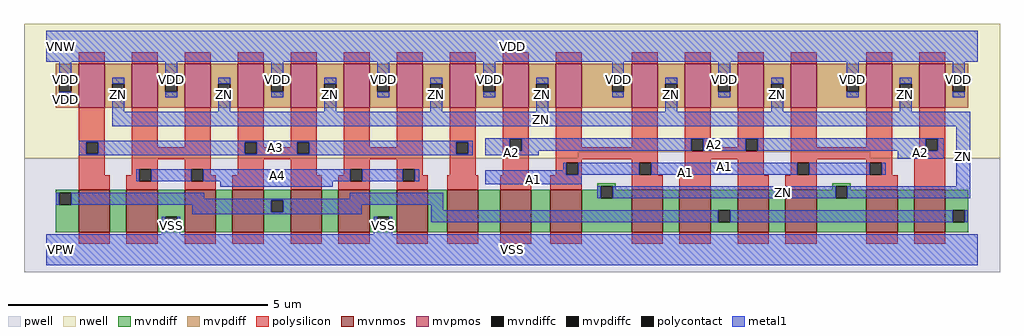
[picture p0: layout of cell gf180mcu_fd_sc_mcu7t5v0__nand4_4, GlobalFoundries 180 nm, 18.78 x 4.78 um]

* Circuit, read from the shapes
.subckt gf180mcu_fd_sc_mcu7t5v0__nand4_4 A1 A2 A3 A4 ZN VDD VNW VPW VSS
XM1 n1 A3 n2 VPW nfet_06v0 w=0.82u l=0.6u
XM2 VSS A4 n1 VPW nfet_06v0 w=0.82u l=0.6u
XM3 n3 A4 VSS VPW nfet_06v0 w=0.82u l=0.6u
XM4 n2 A3 n3 VPW nfet_06v0 w=0.82u l=0.6u
XM5 n4 A3 n2 VPW nfet_06v0 w=0.82u l=0.6u
XM6 VSS A4 n4 VPW nfet_06v0 w=0.82u l=0.6u
XM7 n5 A4 VSS VPW nfet_06v0 w=0.82u l=0.6u
XM8 n6 A3 n5 VPW nfet_06v0 w=0.82u l=0.6u
XM9 n7 A2 n6 VPW nfet_06v0 w=0.82u l=0.6u
XM10 ZN A1 n7 VPW nfet_06v0 w=0.82u l=0.6u
XM11 n8 A1 ZN VPW nfet_06v0 w=0.82u l=0.6u
XM12 n2 A2 n8 VPW nfet_06v0 w=0.82u l=0.6u
XM13 n9 A2 n2 VPW nfet_06v0 w=0.82u l=0.6u
XM14 ZN A1 n9 VPW nfet_06v0 w=0.82u l=0.6u
XM15 n10 A1 ZN VPW nfet_06v0 w=0.82u l=0.6u
XM16 n2 A2 n10 VPW nfet_06v0 w=0.82u l=0.6u
XM17 ZN A3 VDD VNW pfet_06v0 w=0.845u l=0.5u m=4
XM18 VDD A4 ZN VNW pfet_06v0 w=0.845u l=0.5u m=4
XM19 ZN A2 VDD VNW pfet_06v0 w=0.845u l=0.5u m=4
XM20 VDD A1 ZN VNW pfet_06v0 w=0.845u l=0.5u m=4
.ends

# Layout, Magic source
magic
tech gf180mcuD
magscale 1 10
<< nwell >>
rect -86 377 3670 870
rect -86 352 2046 377
rect 3170 352 3670 377
<< pwell >>
rect 2046 352 3170 377
rect -86 -86 3670 352
<< mvnmos >>
rect 124 68 244 232
rect 308 68 428 232
rect 532 68 652 232
rect 716 68 836 232
rect 940 68 1060 232
rect 1124 68 1244 232
rect 1348 68 1468 232
rect 1542 68 1662 232
rect 1746 68 1866 232
rect 1940 68 2060 232
rect 2252 68 2372 232
rect 2436 68 2556 232
rect 2660 68 2780 232
rect 2844 68 2964 232
rect 3156 68 3276 232
rect 3340 68 3460 232
<< mvpmos >>
rect 124 547 224 716
rect 328 547 428 716
rect 532 547 632 716
rect 736 547 836 716
rect 940 547 1040 716
rect 1144 547 1244 716
rect 1348 547 1448 716
rect 1552 547 1652 716
rect 1756 547 1856 716
rect 1960 547 2060 716
rect 2252 547 2352 716
rect 2456 547 2556 716
rect 2660 547 2760 716
rect 2864 547 2964 716
rect 3156 547 3256 716
rect 3360 547 3460 716
<< mvndiff >>
rect 2120 244 2192 257
rect 2120 232 2133 244
rect 36 219 124 232
rect 36 173 49 219
rect 95 173 124 219
rect 36 68 124 173
rect 244 68 308 232
rect 428 127 532 232
rect 428 81 457 127
rect 503 81 532 127
rect 428 68 532 81
rect 652 68 716 232
rect 836 190 940 232
rect 836 144 865 190
rect 911 144 940 190
rect 836 68 940 144
rect 1060 68 1124 232
rect 1244 127 1348 232
rect 1244 81 1273 127
rect 1319 81 1348 127
rect 1244 68 1348 81
rect 1468 68 1542 232
rect 1662 68 1746 232
rect 1866 68 1940 232
rect 2060 198 2133 232
rect 2179 232 2192 244
rect 3024 244 3096 257
rect 3024 232 3037 244
rect 2179 198 2252 232
rect 2060 68 2252 198
rect 2372 68 2436 232
rect 2556 152 2660 232
rect 2556 106 2585 152
rect 2631 106 2660 152
rect 2556 68 2660 106
rect 2780 68 2844 232
rect 2964 198 3037 232
rect 3083 232 3096 244
rect 3083 198 3156 232
rect 2964 68 3156 198
rect 3276 68 3340 232
rect 3460 152 3548 232
rect 3460 106 3489 152
rect 3535 106 3548 152
rect 3460 68 3548 106
<< mvpdiff >>
rect 36 654 124 716
rect 36 608 49 654
rect 95 608 124 654
rect 36 547 124 608
rect 224 639 328 716
rect 224 593 253 639
rect 299 593 328 639
rect 224 547 328 593
rect 428 654 532 716
rect 428 608 457 654
rect 503 608 532 654
rect 428 547 532 608
rect 632 639 736 716
rect 632 593 661 639
rect 707 593 736 639
rect 632 547 736 593
rect 836 654 940 716
rect 836 608 865 654
rect 911 608 940 654
rect 836 547 940 608
rect 1040 639 1144 716
rect 1040 593 1069 639
rect 1115 593 1144 639
rect 1040 547 1144 593
rect 1244 654 1348 716
rect 1244 608 1273 654
rect 1319 608 1348 654
rect 1244 547 1348 608
rect 1448 639 1552 716
rect 1448 593 1477 639
rect 1523 593 1552 639
rect 1448 547 1552 593
rect 1652 654 1756 716
rect 1652 608 1681 654
rect 1727 608 1756 654
rect 1652 547 1756 608
rect 1856 639 1960 716
rect 1856 593 1885 639
rect 1931 593 1960 639
rect 1856 547 1960 593
rect 2060 654 2252 716
rect 2060 608 2177 654
rect 2223 608 2252 654
rect 2060 547 2252 608
rect 2352 639 2456 716
rect 2352 593 2381 639
rect 2427 593 2456 639
rect 2352 547 2456 593
rect 2556 654 2660 716
rect 2556 608 2585 654
rect 2631 608 2660 654
rect 2556 547 2660 608
rect 2760 639 2864 716
rect 2760 593 2789 639
rect 2835 593 2864 639
rect 2760 547 2864 593
rect 2964 654 3156 716
rect 2964 608 3081 654
rect 3127 608 3156 654
rect 2964 547 3156 608
rect 3256 639 3360 716
rect 3256 593 3285 639
rect 3331 593 3360 639
rect 3256 547 3360 593
rect 3460 654 3548 716
rect 3460 608 3489 654
rect 3535 608 3548 654
rect 3460 547 3548 608
<< mvndiffc >>
rect 49 173 95 219
rect 457 81 503 127
rect 865 144 911 190
rect 1273 81 1319 127
rect 2133 198 2179 244
rect 2585 106 2631 152
rect 3037 198 3083 244
rect 3489 106 3535 152
<< mvpdiffc >>
rect 49 608 95 654
rect 253 593 299 639
rect 457 608 503 654
rect 661 593 707 639
rect 865 608 911 654
rect 1069 593 1115 639
rect 1273 608 1319 654
rect 1477 593 1523 639
rect 1681 608 1727 654
rect 1885 593 1931 639
rect 2177 608 2223 654
rect 2381 593 2427 639
rect 2585 608 2631 654
rect 2789 593 2835 639
rect 3081 608 3127 654
rect 3285 593 3331 639
rect 3489 608 3535 654
<< polysilicon >>
rect 124 716 224 760
rect 328 716 428 760
rect 532 716 632 760
rect 736 716 836 760
rect 940 716 1040 760
rect 1144 716 1244 760
rect 1348 716 1448 760
rect 1552 716 1652 760
rect 1756 716 1856 760
rect 1960 716 2060 760
rect 2252 716 2352 760
rect 2456 716 2556 760
rect 2660 716 2760 760
rect 2864 716 2964 760
rect 3156 716 3256 760
rect 3360 716 3460 760
rect 124 415 224 547
rect 124 369 153 415
rect 199 369 224 415
rect 124 288 224 369
rect 328 394 428 547
rect 532 394 632 547
rect 328 348 632 394
rect 328 311 428 348
rect 328 288 357 311
rect 124 232 244 288
rect 308 265 357 288
rect 403 265 428 311
rect 308 232 428 265
rect 532 311 632 348
rect 532 265 557 311
rect 603 288 632 311
rect 736 415 836 547
rect 736 369 763 415
rect 809 394 836 415
rect 940 415 1040 547
rect 940 394 966 415
rect 809 369 966 394
rect 1012 369 1040 415
rect 736 348 1040 369
rect 736 288 836 348
rect 603 265 652 288
rect 532 232 652 265
rect 716 232 836 288
rect 940 288 1040 348
rect 1144 394 1244 547
rect 1348 394 1448 547
rect 1144 348 1448 394
rect 1144 311 1244 348
rect 1144 288 1170 311
rect 940 232 1060 288
rect 1124 265 1170 288
rect 1216 265 1244 311
rect 1124 232 1244 265
rect 1348 311 1448 348
rect 1348 265 1371 311
rect 1417 288 1448 311
rect 1552 415 1652 547
rect 1552 369 1577 415
rect 1623 369 1652 415
rect 1552 288 1652 369
rect 1756 428 1856 547
rect 1756 382 1783 428
rect 1829 382 1856 428
rect 1756 288 1856 382
rect 1960 394 2060 547
rect 2252 394 2352 547
rect 1960 348 2352 394
rect 1960 336 2060 348
rect 1960 290 2001 336
rect 2047 290 2060 336
rect 1960 288 2060 290
rect 1417 265 1468 288
rect 1348 232 1468 265
rect 1542 232 1662 288
rect 1746 232 1866 288
rect 1940 232 2060 288
rect 2252 336 2352 348
rect 2252 290 2282 336
rect 2328 290 2352 336
rect 2252 288 2352 290
rect 2456 428 2556 547
rect 2456 382 2482 428
rect 2528 394 2556 428
rect 2660 428 2760 547
rect 2660 394 2692 428
rect 2528 382 2692 394
rect 2738 382 2760 428
rect 2456 348 2760 382
rect 2456 288 2556 348
rect 2252 232 2372 288
rect 2436 232 2556 288
rect 2660 288 2760 348
rect 2864 394 2964 547
rect 3156 394 3256 547
rect 3360 428 3460 547
rect 3360 394 3384 428
rect 2864 348 3256 394
rect 2864 336 2964 348
rect 2864 290 2890 336
rect 2936 290 2964 336
rect 2864 288 2964 290
rect 2660 232 2780 288
rect 2844 232 2964 288
rect 3156 336 3256 348
rect 3156 290 3169 336
rect 3215 290 3256 336
rect 3156 288 3256 290
rect 3340 382 3384 394
rect 3430 382 3460 428
rect 3156 232 3276 288
rect 3340 232 3460 382
rect 124 24 244 68
rect 308 24 428 68
rect 532 24 652 68
rect 716 24 836 68
rect 940 24 1060 68
rect 1124 24 1244 68
rect 1348 24 1468 68
rect 1542 24 1662 68
rect 1746 24 1866 68
rect 1940 24 2060 68
rect 2252 24 2372 68
rect 2436 24 2556 68
rect 2660 24 2780 68
rect 2844 24 2964 68
rect 3156 24 3276 68
rect 3340 24 3460 68
<< polycontact >>
rect 153 369 199 415
rect 357 265 403 311
rect 557 265 603 311
rect 763 369 809 415
rect 966 369 1012 415
rect 1170 265 1216 311
rect 1371 265 1417 311
rect 1577 369 1623 415
rect 1783 382 1829 428
rect 2001 290 2047 336
rect 2282 290 2328 336
rect 2482 382 2528 428
rect 2692 382 2738 428
rect 2890 290 2936 336
rect 3169 290 3215 336
rect 3384 382 3430 428
<< metal1 >>
rect 0 724 3584 844
rect 49 654 95 724
rect 49 568 95 608
rect 253 639 299 662
rect 253 531 299 593
rect 457 654 503 724
rect 457 587 503 608
rect 661 639 707 662
rect 661 531 707 593
rect 865 654 911 724
rect 865 587 911 608
rect 1069 639 1115 662
rect 1069 531 1115 593
rect 1273 654 1319 724
rect 1273 587 1319 608
rect 1477 639 1523 662
rect 1477 531 1523 593
rect 1681 654 1727 724
rect 1681 587 1727 608
rect 1885 639 1931 662
rect 1885 531 1931 593
rect 2177 654 2223 724
rect 2177 587 2223 608
rect 2381 639 2427 662
rect 2381 531 2427 593
rect 2585 654 2631 724
rect 2585 587 2631 608
rect 2789 639 2835 662
rect 2789 531 2835 593
rect 3081 654 3127 724
rect 3081 587 3127 608
rect 3285 639 3331 662
rect 3285 531 3331 593
rect 3489 654 3535 724
rect 3489 587 3535 608
rect 253 476 3555 531
rect 1690 428 3454 430
rect 124 415 1640 419
rect 124 369 153 415
rect 199 369 763 415
rect 809 369 966 415
rect 1012 369 1577 415
rect 1623 369 1640 415
rect 124 365 1640 369
rect 1690 382 1783 428
rect 1829 382 2482 428
rect 2528 382 2692 428
rect 2738 382 3384 428
rect 3430 382 3454 428
rect 1690 365 1894 382
rect 3277 350 3454 382
rect 346 265 357 311
rect 403 265 557 311
rect 603 265 1170 311
rect 1216 265 1371 311
rect 1417 265 1436 311
rect 1990 307 2001 336
rect 1690 290 2001 307
rect 2047 290 2282 336
rect 2328 290 2890 336
rect 2936 290 3169 336
rect 3215 290 3231 336
rect 669 242 1102 265
rect 1690 253 2060 290
rect 3501 244 3555 476
rect 36 173 49 219
rect 95 196 608 219
rect 1168 196 1527 219
rect 2120 198 2133 244
rect 2179 198 3037 244
rect 3083 198 3555 244
rect 95 190 1527 196
rect 95 173 865 190
rect 562 144 865 173
rect 911 173 1527 190
rect 911 144 1214 173
rect 562 138 1214 144
rect 1481 152 1527 173
rect 444 81 457 127
rect 503 81 516 127
rect 444 60 516 81
rect 1260 81 1273 127
rect 1319 81 1332 127
rect 1481 106 2585 152
rect 2631 106 3489 152
rect 3535 106 3546 152
rect 1260 60 1332 81
rect 0 -60 3584 60
<< labels >>
flabel metal1 s 124 365 1640 419 0 FreeSans 400 0 0 0 A3
port 3 nsew default input
flabel metal1 s 346 265 1436 311 0 FreeSans 400 0 0 0 A4
port 4 nsew default input
flabel metal1 s 0 724 3584 844 0 FreeSans 400 0 0 0 VDD
port 6 nsew power bidirectional abutment
flabel metal1 s 1260 60 1332 127 0 FreeSans 400 0 0 0 VSS
port 9 nsew ground bidirectional abutment
flabel metal1 s 3285 531 3331 662 0 FreeSans 400 0 0 0 ZN
port 5 nsew default output
flabel metal1 s 1990 307 3231 336 0 FreeSans 400 0 0 0 A1
port 1 nsew default input
flabel metal1 s 1690 382 3454 430 0 FreeSans 400 0 0 0 A2
port 2 nsew default input
flabel nwell s 10 734 110 834 0 FreeSans 400 0 0 0 VNW
port 7 nsew power bidirectional
flabel pwell s 10 -50 110 50 0 FreeSans 400 0 0 0 VPW
port 8 nsew ground bidirectional
rlabel metal1 s 1690 290 3231 307 1 A1
port 1 nsew default input
rlabel metal1 s 1690 253 2060 290 1 A1
port 1 nsew default input
rlabel metal1 s 3277 365 3454 382 1 A2
port 2 nsew default input
rlabel metal1 s 1690 365 1894 382 1 A2
port 2 nsew default input
rlabel metal1 s 3277 350 3454 365 1 A2
port 2 nsew default input
rlabel metal1 s 669 242 1102 265 1 A4
port 4 nsew default input
rlabel metal1 s 2789 531 2835 662 1 ZN
port 5 nsew default output
rlabel metal1 s 2381 531 2427 662 1 ZN
port 5 nsew default output
rlabel metal1 s 1885 531 1931 662 1 ZN
port 5 nsew default output
rlabel metal1 s 1477 531 1523 662 1 ZN
port 5 nsew default output
rlabel metal1 s 1069 531 1115 662 1 ZN
port 5 nsew default output
rlabel metal1 s 661 531 707 662 1 ZN
port 5 nsew default output
rlabel metal1 s 253 531 299 662 1 ZN
port 5 nsew default output
rlabel metal1 s 253 476 3555 531 1 ZN
port 5 nsew default output
rlabel metal1 s 3501 244 3555 476 1 ZN
port 5 nsew default output
rlabel metal1 s 2120 198 3555 244 1 ZN
port 5 nsew default output
rlabel metal1 s 3489 587 3535 724 1 VDD
port 6 nsew power bidirectional abutment
rlabel metal1 s 3081 587 3127 724 1 VDD
port 6 nsew power bidirectional abutment
rlabel metal1 s 2585 587 2631 724 1 VDD
port 6 nsew power bidirectional abutment
rlabel metal1 s 2177 587 2223 724 1 VDD
port 6 nsew power bidirectional abutment
rlabel metal1 s 1681 587 1727 724 1 VDD
port 6 nsew power bidirectional abutment
rlabel metal1 s 1273 587 1319 724 1 VDD
port 6 nsew power bidirectional abutment
rlabel metal1 s 865 587 911 724 1 VDD
port 6 nsew power bidirectional abutment
rlabel metal1 s 457 587 503 724 1 VDD
port 6 nsew power bidirectional abutment
rlabel metal1 s 49 587 95 724 1 VDD
port 6 nsew power bidirectional abutment
rlabel metal1 s 49 568 95 587 1 VDD
port 6 nsew power bidirectional abutment
rlabel metal1 s 444 60 516 127 1 VSS
port 9 nsew ground bidirectional abutment
rlabel metal1 s 0 -60 3584 60 1 VSS
port 9 nsew ground bidirectional abutment
<< properties >>
string FIXED_BBOX 0 0 3584 784
string GDS_END 737418
string GDS_FILE $PDKPATH/libs.ref/gf180mcu_fd_sc_mcu7t5v0/gds/gf180mcu_fd_sc_mcu7t5v0.gds
string GDS_START 730492
string LEFclass core
string LEFsite GF018hv5v_mcu_sc7
string LEFsymmetry X Y
<< end >>
